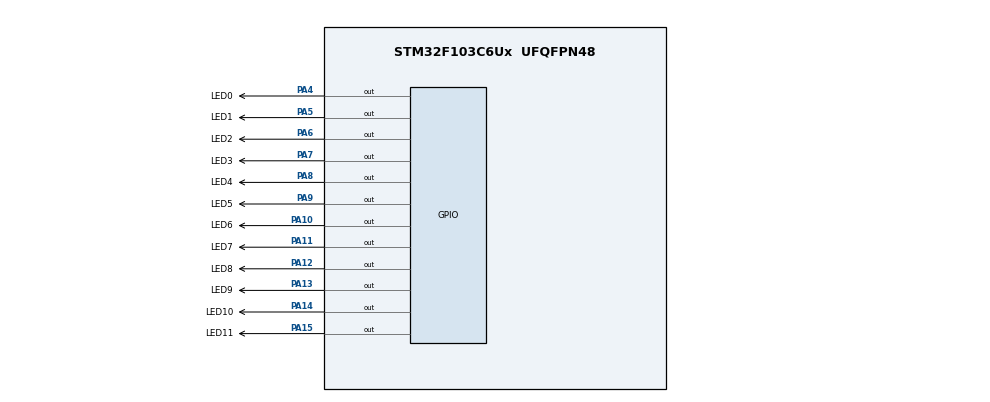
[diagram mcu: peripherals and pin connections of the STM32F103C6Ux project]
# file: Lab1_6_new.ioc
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Mcu.Family=STM32F1
Mcu.Name=STM32F103C6Ux
Mcu.Package=UFQFPN48
NVIC.PriorityGroup=NVIC_PRIORITYGROUP_4
PA10.GPIO_Label=LED6
PA10.Signal=GPIO_Output
PA11.GPIO_Label=LED7
PA11.Signal=GPIO_Output
PA12.GPIO_Label=LED8
PA12.Signal=GPIO_Output
PA13.GPIO_Label=LED9
PA13.Signal=GPIO_Output
PA14.GPIO_Label=LED10
PA14.Signal=GPIO_Output
PA15.GPIO_Label=LED11
PA15.Signal=GPIO_Output
PA4.GPIO_Label=LED0
PA4.Signal=GPIO_Output
PA5.GPIO_Label=LED1
PA5.Signal=GPIO_Output
PA6.GPIO_Label=LED2
PA6.Signal=GPIO_Output
PA7.GPIO_Label=LED3
PA7.Signal=GPIO_Output
PA8.GPIO_Label=LED4
PA8.Signal=GPIO_Output
PA9.GPIO_Label=LED5
PA9.Signal=GPIO_Output
ProjectManager.HeapSize=0x200
ProjectManager.StackSize=0x400
ProjectManager.TargetToolchain=STM32CubeIDE
RCC.APB1Freq_Value=8000000
RCC.APB2Freq_Value=8000000
VP_SYS_VS_ND.Mode=No_Debug
board=custom

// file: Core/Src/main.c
/* USER CODE BEGIN Header */
/**
  ******************************************************************************
  * @file           : main.c
  * @brief          : Main program body
  ******************************************************************************
  * @attention
  *
  * <h2><center>&copy; Copyright (c) 2022 STMicroelectronics.
  * All rights reserved.</center></h2>
  *
  * This software component is licensed by ST under BSD 3-Clause license,
  * the "License"; You may not use this file except in compliance with the
  * License. You may obtain a copy of the License at:
  *                        opensource.org/licenses/BSD-3-Clause
  *
  ******************************************************************************
  */
/* USER CODE END Header */
#include "main.h"

/* USER CODE BEGIN PV */
int hour=0;
int min=0;
int sec=0;
int num=0;
void clearAllClock();
void Turn_On_Sequence(int num);
void setNumberOnClock(int num);
void clearNumberOnClock(int num);
/* USER CODE END PV */

void SystemClock_Config(void);
static void MX_GPIO_Init(void);

int main(void)
{

  /* MCU Configuration--------------------------------------------------------*/

  /* Reset of all peripherals, Initializes the Flash interface and the Systick. */
  HAL_Init();

  /* Configure the system clock */
  SystemClock_Config();

  /* Initialize all configured peripherals */
  MX_GPIO_Init();

  /* Infinite loop */

  while (1)
    {

      /* USER CODE BEGIN 3 */
  	  clearAllClock();
  	  /* create time*/
  	  setNumberOnClock(sec/5);
  	  setNumberOnClock(min/5);
  	  setNumberOnClock(hour);
  	  if(sec==60){
  		  sec=0;
  		  min++;
  	  }
  	  if(min==60){
  		  min=0;
  		  hour++;
  	  }
  	  if(hour==12){
  		  hour=0;
  	  }
  	  sec++;
  	  HAL_Delay(1000);
    }
  /* USER CODE END 3 */
}

void clearAllClock(){
	HAL_GPIO_WritePin(LED0_GPIO_Port, LED0_Pin, RESET);
	HAL_GPIO_WritePin(LED1_GPIO_Port, LED1_Pin, RESET);
	HAL_GPIO_WritePin(LED2_GPIO_Port, LED2_Pin, RESET);
	HAL_GPIO_WritePin(LED3_GPIO_Port, LED3_Pin, RESET);
	HAL_GPIO_WritePin(LED4_GPIO_Port, LED4_Pin, RESET);
	HAL_GPIO_WritePin(LED5_GPIO_Port, LED5_Pin, RESET);
	HAL_GPIO_WritePin(LED6_GPIO_Port, LED6_Pin, RESET);
	HAL_GPIO_WritePin(LED7_GPIO_Port, LED7_Pin, RESET);
	HAL_GPIO_WritePin(LED8_GPIO_Port, LED8_Pin, RESET);
	HAL_GPIO_WritePin(LED9_GPIO_Port, LED9_Pin, RESET);
	HAL_GPIO_WritePin(LED10_GPIO_Port, LED10_Pin, RESET);
	HAL_GPIO_WritePin(LED11_GPIO_Port, LED11_Pin, RESET);
}

void Turn_On_Sequence(int num){
	if (num==0){
		HAL_GPIO_TogglePin(LED0_GPIO_Port, LED0_Pin);
	}
	if (num==1){
		HAL_GPIO_TogglePin(LED1_GPIO_Port, LED1_Pin);
		}
	if (num==2){
		HAL_GPIO_TogglePin(LED2_GPIO_Port, LED2_Pin);
		}
	if (num==3){
		HAL_GPIO_TogglePin(LED3_GPIO_Port, LED3_Pin);
		}
	if (num==4){
		HAL_GPIO_TogglePin(LED4_GPIO_Port, LED4_Pin);
		}
	if (num==5){
		HAL_GPIO_TogglePin(LED5_GPIO_Port, LED5_Pin);
		}
	if (num==6){
		HAL_GPIO_TogglePin(LED6_GPIO_Port, LED6_Pin);
		}
	if (num==7){
		HAL_GPIO_TogglePin(LED7_GPIO_Port, LED7_Pin);
		}
	if (num==8){
		HAL_GPIO_TogglePin(LED8_GPIO_Port, LED8_Pin);
		}
	if (num==9){
		HAL_GPIO_TogglePin(LED9_GPIO_Port, LED9_Pin);
		}
	if (num==10){
		HAL_GPIO_TogglePin(LED10_GPIO_Port, LED10_Pin);
		}
	if (num==11){
		HAL_GPIO_TogglePin(LED11_GPIO_Port, LED11_Pin);
		}
}
void setNumberOnClock(int num){
	if (num==0){
		HAL_GPIO_WritePin(LED0_GPIO_Port, LED0_Pin, SET);
	}
	if (num==1){
			HAL_GPIO_WritePin(LED1_GPIO_Port, LED1_Pin, SET);
		}
	if (num==2){
			HAL_GPIO_WritePin(LED2_GPIO_Port, LED2_Pin, SET);
		}
	if (num==3){
			HAL_GPIO_WritePin(LED3_GPIO_Port, LED3_Pin, SET);
		}
	if (num==4){
			HAL_GPIO_WritePin(LED4_GPIO_Port, LED4_Pin, SET);
		}
	if (num==5){
			HAL_GPIO_WritePin(LED5_GPIO_Port, LED5_Pin, SET);
		}
	if (num==6){
			HAL_GPIO_WritePin(LED6_GPIO_Port, LED6_Pin, SET);
		}
	if (num==7){
			HAL_GPIO_WritePin(LED7_GPIO_Port, LED7_Pin, SET);
		}
	if (num==8){
			HAL_GPIO_WritePin(LED8_GPIO_Port, LED8_Pin, SET);
		}
	if (num==9){
			HAL_GPIO_WritePin(LED9_GPIO_Port, LED9_Pin, SET);
		}
	if (num==10){
			HAL_GPIO_WritePin(LED10_GPIO_Port, LED10_Pin, SET);
		}
	if (num==11){
			HAL_GPIO_WritePin(LED11_GPIO_Port, LED11_Pin, SET);
		}
}
void clearNumberOnClock(int num){
	if (num==0){
		HAL_GPIO_WritePin(LED0_GPIO_Port, LED0_Pin, RESET);
	}
	if (num==1){
			HAL_GPIO_WritePin(LED1_GPIO_Port, LED1_Pin, RESET);
		}
	if (num==2){
			HAL_GPIO_WritePin(LED2_GPIO_Port, LED2_Pin, RESET);
		}
	if (num==3){
			HAL_GPIO_WritePin(LED3_GPIO_Port, LED3_Pin, RESET);
		}
	if (num==4){
			HAL_GPIO_WritePin(LED4_GPIO_Port, LED4_Pin, RESET);
		}
	if (num==5){
			HAL_GPIO_WritePin(LED5_GPIO_Port, LED5_Pin, RESET);
		}
	if (num==6){
			HAL_GPIO_WritePin(LED6_GPIO_Port, LED6_Pin, RESET);
		}
	if (num==7){
			HAL_GPIO_WritePin(LED7_GPIO_Port, LED7_Pin, RESET);
		}
	if (num==8){
			HAL_GPIO_WritePin(LED8_GPIO_Port, LED8_Pin, RESET);
		}
	if (num==9){
			HAL_GPIO_WritePin(LED9_GPIO_Port, LED9_Pin, RESET);
		}
	if (num==10){
			HAL_GPIO_WritePin(LED10_GPIO_Port, LED10_Pin, RESET);
		}
	if (num==11){
			HAL_GPIO_WritePin(LED11_GPIO_Port, LED11_Pin, RESET);
		}
}

void SystemClock_Config(void)
{
  RCC_OscInitTypeDef RCC_OscInitStruct = {0};
  RCC_ClkInitTypeDef RCC_ClkInitStruct = {0};

  /** Initializes the RCC Oscillators according to the specified parameters
  * in the RCC_OscInitTypeDef structure.
  */
  RCC_OscInitStruct.OscillatorType = RCC_OSCILLATORTYPE_HSI;
  RCC_OscInitStruct.HSIState = RCC_HSI_ON;
  RCC_OscInitStruct.HSICalibrationValue = RCC_HSICALIBRATION_DEFAULT;
  RCC_OscInitStruct.PLL.PLLState = RCC_PLL_NONE;
  if (HAL_RCC_OscConfig(&RCC_OscInitStruct) != HAL_OK)
  {
    Error_Handler();
  }
  /** Initializes the CPU, AHB and APB buses clocks
  */
  RCC_ClkInitStruct.ClockType = RCC_CLOCKTYPE_HCLK|RCC_CLOCKTYPE_SYSCLK
                              |RCC_CLOCKTYPE_PCLK1|RCC_CLOCKTYPE_PCLK2;
  RCC_ClkInitStruct.SYSCLKSource = RCC_SYSCLKSOURCE_HSI;
  RCC_ClkInitStruct.AHBCLKDivider = RCC_SYSCLK_DIV1;
  RCC_ClkInitStruct.APB1CLKDivider = RCC_HCLK_DIV1;
  RCC_ClkInitStruct.APB2CLKDivider = RCC_HCLK_DIV1;

  if (HAL_RCC_ClockConfig(&RCC_ClkInitStruct, FLASH_LATENCY_0) != HAL_OK)
  {
    Error_Handler();
  }
}

static void MX_GPIO_Init(void)
{
  GPIO_InitTypeDef GPIO_InitStruct = {0};

  /* GPIO Ports Clock Enable */
  __HAL_RCC_GPIOA_CLK_ENABLE();

  /*Configure GPIO pin Output Level */
  HAL_GPIO_WritePin(GPIOA, LED0_Pin|LED1_Pin|LED2_Pin|LED3_Pin
                          |LED4_Pin|LED5_Pin|LED6_Pin|LED7_Pin
                          |LED8_Pin|LED9_Pin|LED10_Pin|LED11_Pin, GPIO_PIN_RESET);

  /*Configure GPIO pins : LED0_Pin LED1_Pin LED2_Pin LED3_Pin
                           LED4_Pin LED5_Pin LED6_Pin LED7_Pin
                           LED8_Pin LED9_Pin LED10_Pin LED11_Pin */
  GPIO_InitStruct.Pin = LED0_Pin|LED1_Pin|LED2_Pin|LED3_Pin
                          |LED4_Pin|LED5_Pin|LED6_Pin|LED7_Pin
                          |LED8_Pin|LED9_Pin|LED10_Pin|LED11_Pin;
  GPIO_InitStruct.Mode = GPIO_MODE_OUTPUT_PP;
  GPIO_InitStruct.Pull = GPIO_NOPULL;
  GPIO_InitStruct.Speed = GPIO_SPEED_FREQ_LOW;
  HAL_GPIO_Init(GPIOA, &GPIO_InitStruct);

}

void Error_Handler(void)
{
  __disable_irq();
  while (1)
  {
  }
}

/************************ (C) COPYRIGHT STMicroelectronics *****END OF FILE****/
